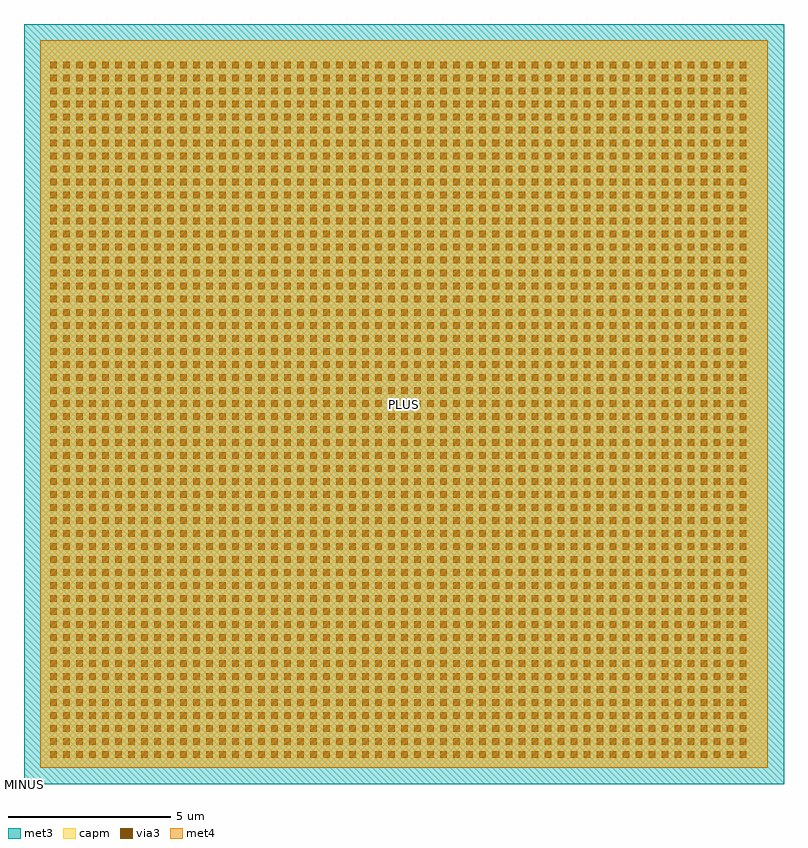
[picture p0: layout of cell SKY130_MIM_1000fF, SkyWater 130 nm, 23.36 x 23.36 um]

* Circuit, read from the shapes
.subckt SKY130_MIM_1000fF MINUS PLUS
XC1 PLUS MINUS sky130_fd_pr__cap_mim_m3_1 w=22.36 l=22.36
.ends

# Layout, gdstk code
import gdstk
lib = gdstk.Library(unit=1e-6, precision=1e-09)
def R(c, l, rs):  # rectangles x0, y0, x1, y1
    for r in rs: c.add(gdstk.rectangle(r[:2], r[2:], *l))
def A(c, l, x, y, w, h, nx, ny, dx, dy):  # array of equal rectangles
    R(c, l, [(x+i*dx, y+j*dy, x+i*dx+w, y+j*dy+h) for i in range(nx) for j in range(ny)])
met3 = (70, 20)
via3 = (70, 44)
met4 = (71, 20)
capm = (89, 44)

sky130_mim_1000ff = lib.new_cell('SKY130_MIM_1000fF')
R(sky130_mim_1000ff, met3, [(-0.5,-0.5,22.86,22.86)])
A(sky130_mim_1000ff, via3, 0.3, 0.3, 0.2, 0.2, 54, 54, 0.4, 0.4)
R(sky130_mim_1000ff, met4, [(0,0,22.36,22.36)])
R(sky130_mim_1000ff, capm, [(0,0,22.36,22.36)])
sky130_mim_1000ff.add(gdstk.Label('MINUS', (-0.5,-0.5), layer=70, texttype=5))
sky130_mim_1000ff.add(gdstk.Label('PLUS', (11.18,11.18), layer=71, texttype=5))

lib.write_gds('SKY130_MIM_1000fF.gds')
